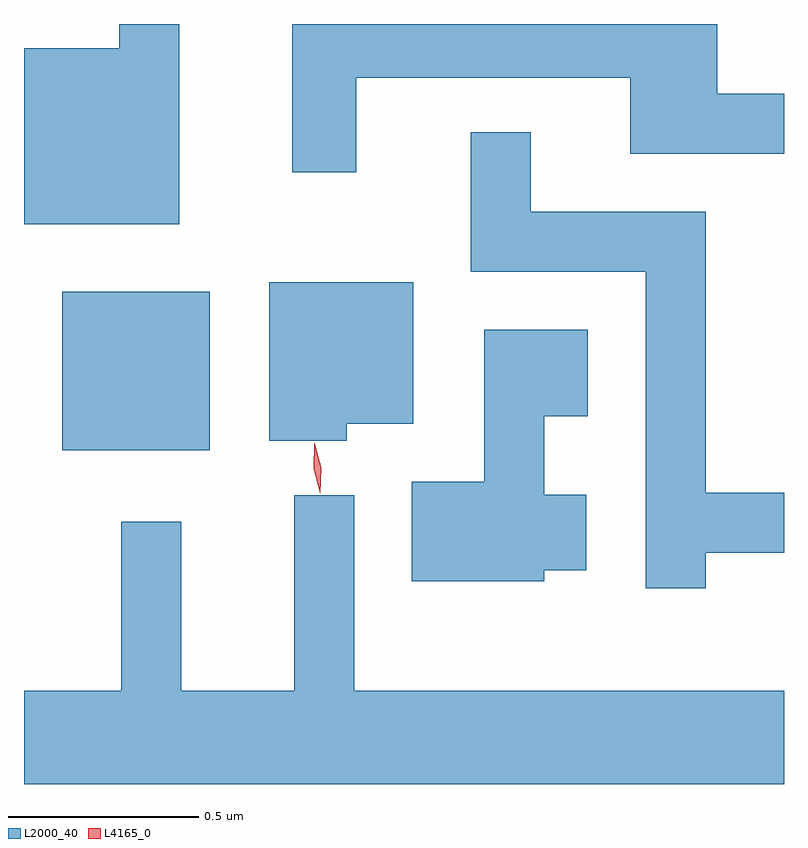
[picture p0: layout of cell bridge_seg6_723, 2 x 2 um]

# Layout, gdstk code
import gdstk
lib = gdstk.Library(unit=1e-6, precision=1e-09)
def R(c, l, rs):  # rectangles x0, y0, x1, y1
    for r in rs: c.add(gdstk.rectangle(r[:2], r[2:], *l))
def P(c, l, *ps):  # polygons
    for p in ps: c.add(gdstk.Polygon(p, *l))
L2000_40 = (2000, 40)
L4165_0 = (4165, 0)

bridge_seg6_723 = lib.new_cell('bridge_seg6_723')
R(bridge_seg6_723, L2000_40, [(388.646,1588.676,389.034,1589.094)])
P(bridge_seg6_723, L2000_40, [(389.419,1589.656),(390.141,1589.656),(390.141,1589.456),(390.545,1589.456),(390.545,1589.614),(390.369,1589.614),(390.369,1589.798),(389.251,1589.798),(389.251,1589.408),(389.419,1589.408)],
  [(388.954,1589.798),(388.796,1589.798),(388.796,1589.734),(388.545,1589.734),(388.545,1589.271),(388.954,1589.271)],
  [(390.339,1588.406),(390.545,1588.406),(390.545,1588.564),(390.339,1588.564),(390.339,1589.304),(389.879,1589.304),(389.879,1589.513),(389.721,1589.513),(389.721,1589.146),(390.181,1589.146),(390.181,1588.313),(390.339,1588.313)],
  [(389.394,1588.746),(389.569,1588.746),(389.569,1589.119),(389.191,1589.119),(389.191,1588.701),(389.394,1588.701)],
  [(389.914,1588.361),(390.024,1588.361),(390.024,1588.559),(389.914,1588.559),(389.914,1588.766),(390.029,1588.766),(390.029,1588.994),(389.756,1588.994),(389.756,1588.594),(389.566,1588.594),(389.566,1588.331),(389.914,1588.331)],
  [(390.545,1588.044),(389.414,1588.044),(389.414,1588.558),(389.256,1588.558),(389.256,1588.044),(388.959,1588.044),(388.959,1588.488),(388.801,1588.488),(388.801,1588.044),(388.545,1588.044),(388.545,1587.798),(390.545,1587.798)])
P(bridge_seg6_723, L4165_0, [(389.324,1588.563),(389.324,1588.563),(389.307,1588.628),(389.309,1588.694),(389.309,1588.695),(389.31,1588.694),(389.327,1588.63),(389.325,1588.563)])

lib.write_gds('bridge_seg6_723.gds')
